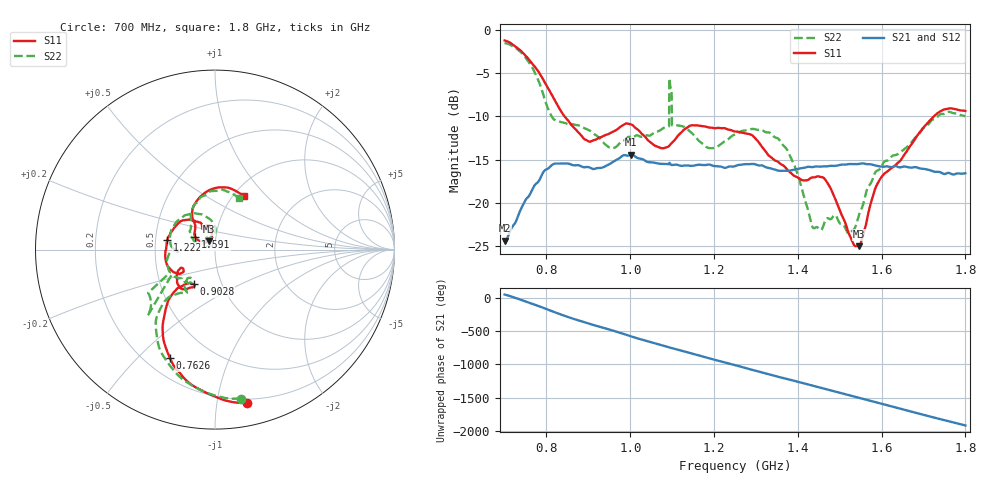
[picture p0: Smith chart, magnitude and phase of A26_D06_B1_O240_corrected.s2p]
! Created with skrf 1.9.0 (http://scikit-rf.org).
# Hz S RI R 50.0
!freq ReS11 ImS11 ReS21 ImS21 ReS12 ImS12 ReS22 ImS22
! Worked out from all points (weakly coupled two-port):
!   1601 points, 700 MHz to 1.8 GHz, reference 50 ohm
!   highest |S21| = -14.45 dB at 1.002 GHz (marker M1); lowest = -24.4 dB at 700 MHz (marker M2)
!   lowest |S11| = -25.0 dB at 1.545 GHz (marker M3), VSWR 1.12, Z = 46.7 + j4.31 ohm
!   |S11| at or under -10 dB: 843.2 MHz to 1.725 GHz (881.5 MHz wide, 68.7 % of centre)
!   |S22| runs from -23.6 to -1.5 dB; largest |S21 - S12| = 0.0035
!   S11 on the Smith chart (normalised r, x): 700 MHz: 0.17, -1.21; 762.6 MHz: 0.30, -0.63; 902.8 MHz: 0.74, -0.30; 1.222 GHz: 0.58, +0.07; 1.591 GHz: 0.80, +0.11; 1.8 GHz: 1.12, +0.76
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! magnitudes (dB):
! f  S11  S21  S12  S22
! 700 MHz  -1.2  -24.4  -24.2  -1.5
! 762.6 MHz  -3.7  -18.8  -18.8  -4.0
! 815.5 MHz  -7.7  -15.5  -15.6  -10.2
! 883.6 MHz  -12.2  -15.8  -15.7  -11.2
! 902.8 MHz  -12.9  -15.9  -15.9  -11.6
! 954.4 MHz  -11.9  -15.4  -15.4  -13.7
! 1.002 GHz  -10.9  -14.4  -14.6  -12.4
! 1.067 GHz  -13.6  -15.5  -15.4  -11.7
! 1.099 GHz  -13.1  -15.6  -15.6  -7.1
! 1.105 GHz  -12.8  -15.6  -15.6  -11.0
! 1.222 GHz  -11.4  -15.9  -15.9  -13.0
! 1.25 GHz  -11.7  -15.8  -15.7  -12.1
! 1.356 GHz  -15.4  -16.3  -16.2  -12.7
! 1.394 GHz  -17.0  -16.1  -16.1  -16.0
! 1.434 GHz  -17.1  -15.9  -15.8  -22.6
! 1.468 GHz  -17.5  -15.8  -15.8  -21.9
! 1.523 GHz  -23.7  -15.5  -15.5  -23.5
! 1.545 GHz  -25.0  -15.5  -15.5  -21.6
! 1.591 GHz  -17.7  -15.8  -15.7  -16.2
! 1.617 GHz  -16.2  -15.8  -15.8  -15.0
! 1.733 GHz  -9.7  -16.4  -16.5  -10.1
! 1.8 GHz  -9.4  -16.6  -16.6  -10.0
